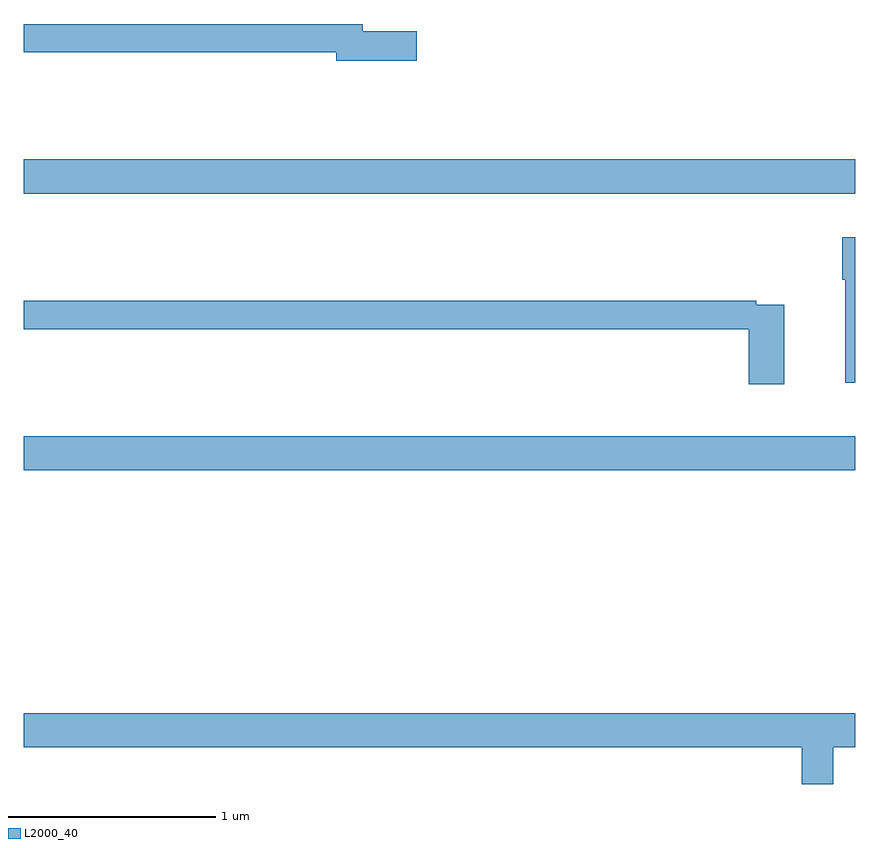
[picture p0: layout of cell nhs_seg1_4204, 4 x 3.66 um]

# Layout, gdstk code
import gdstk
lib = gdstk.Library(unit=1e-6, precision=1e-09)
def R(c, l, rs):  # rectangles x0, y0, x1, y1
    for r in rs: c.add(gdstk.rectangle(r[:2], r[2:], *l))
def P(c, l, *ps):  # polygons
    for p in ps: c.add(gdstk.Polygon(p, *l))
L2000_40 = (2000, 40)

nhs_seg1_4204 = lib.new_cell('nhs_seg1_4204')
R(nhs_seg1_4204, L2000_40, [(339,575.708,343,575.872), (339,577.04,343,577.204)])
P(nhs_seg1_4204, L2000_40, [(340.891,577.82),(340.63,577.82),(340.63,577.856),(339,577.856),(339,577.72),(340.502,577.72),(340.502,577.678),(340.891,577.678)],
  [(343,576.829),(342.937,576.829),(342.937,576.625),(342.952,576.625),(342.952,576.129),(343,576.129)],
  [(342.658,576.504),(342.524,576.504),(342.524,576.524),(339,576.524),(339,576.388),(342.488,576.388),(342.488,576.123),(342.658,576.123)],
  [(342.895,574.376),(343,574.376),(343,574.54),(339,574.54),(339,574.376),(342.743,574.376),(342.743,574.199),(342.895,574.199)])

lib.write_gds('nhs_seg1_4204.gds')
